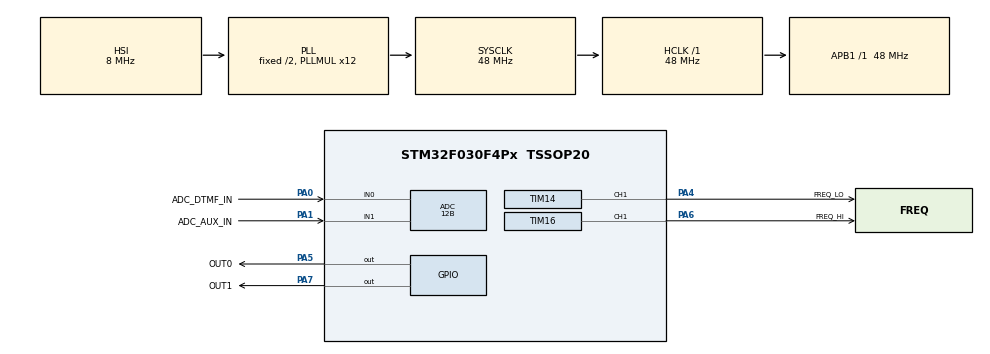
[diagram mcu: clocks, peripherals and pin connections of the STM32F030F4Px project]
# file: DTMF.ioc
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ADC.Channel-IN1=ADC_CHANNEL_1
ADC.ClockPrescaler=ADC_CLOCK_ASYNC_DIV1
ADC.ContinuousConvMode=DISABLE
ADC.DMAContinuousRequests=ENABLE
ADC.DataAlign=ADC_DATAALIGN_RIGHT
ADC.DiscontinuousConvMode=DISABLE
ADC.EOCSelection=ADC_EOC_SEQ_CONV
ADC.EnableAnalogWatchDog=false
ADC.ExternalTrigConv=ADC_EXTERNALTRIGCONV_T3_TRGO
ADC.ExternalTrigConvEdge=ADC_EXTERNALTRIGCONVEDGE_RISING
ADC.LowPowerAutoPowerOff=DISABLE
ADC.LowPowerAutoWait=ENABLE
ADC.Overrun=ADC_OVR_DATA_OVERWRITTEN
ADC.Resolution=ADC_RESOLUTION_12B
ADC.SamplingTime=ADC_SAMPLETIME_13CYCLES_5
ADC.ScanConvMode=ADC_SCAN_DIRECTION_FORWARD
Dma.ADC.1.Direction=DMA_PERIPH_TO_MEMORY
Dma.ADC.1.Instance=DMA1_Channel1
Dma.ADC.1.MemDataAlignment=DMA_MDATAALIGN_HALFWORD
Dma.ADC.1.MemInc=DMA_MINC_ENABLE
Dma.ADC.1.Mode=DMA_CIRCULAR
Dma.ADC.1.PeriphDataAlignment=DMA_PDATAALIGN_HALFWORD
Dma.ADC.1.PeriphInc=DMA_PINC_DISABLE
Dma.ADC.1.Priority=DMA_PRIORITY_VERY_HIGH
Dma.MEMTOMEM.0.Direction=DMA_MEMORY_TO_MEMORY
Dma.MEMTOMEM.0.Instance=DMA1_Channel4
Dma.MEMTOMEM.0.MemDataAlignment=DMA_MDATAALIGN_HALFWORD
Dma.MEMTOMEM.0.MemInc=DMA_MINC_ENABLE
Dma.MEMTOMEM.0.Mode=DMA_NORMAL
Dma.MEMTOMEM.0.PeriphDataAlignment=DMA_PDATAALIGN_HALFWORD
Dma.MEMTOMEM.0.PeriphInc=DMA_PINC_DISABLE
Dma.MEMTOMEM.0.Priority=DMA_PRIORITY_LOW
Dma.Request0=MEMTOMEM
Dma.Request1=ADC
Mcu.Family=STM32F0
Mcu.Name=STM32F030F4Px
Mcu.Package=TSSOP20
Mcu.UserConstants=SYS_TIM_Hz,6000000;SYSTICK_TIMEBASE_us,1000;SYSTICK_CAL,(SYSTICK_TIMEBASE_us*SYS_TIM_Hz/1000000);BR1,115200;BR2,230400;BR4,460800;TIM_CLK_48MHz,48000000;TIM_CLK,TIM_CLK_48MHz;TIM3_CK_CNT_Hz,48000000;TIM3_PSC,((TIM_CLK/TIM3_CK_CNT_Hz)-1);TIM3_TIMEBASE_us,(1000000/TIM3_FREQ_HZ);TIM3_ARR,((TIM3_CK_CNT_Hz/TIM3_FREQ_HZ)-1);TIM3_FREQ_HZ,3840;TIMD_CK_CNT_Hz,24000000;TIMD_PSC,((TIM_CLK/TIMD_CK_CNT_Hz)-1);TIMD_F1_Hz,697;TIMD_F1_ARR,((TIMD_CK_CNT_Hz/TIMD_F1_Hz)-1);TIMD_F2_Hz,770;TIMD_F3_Hz,852;TIMD_F4_Hz,941;TIMD_F5_Hz,1209;TIMD_F6_Hz,1336;TIMD_F7_Hz,1477;TIMD_F8_Hz,1633;TIMD_F5_ARR,((TIMD_CK_CNT_Hz/TIMD_F5_Hz)-1)
NVIC.DMA1_Channel1_IRQn=true\:1\:0\:true\:true\:true\:1
NVIC.FLASH_IRQn=true\:0\:0\:false\:false\:true
NVIC.RCC_IRQn=true\:0\:0\:false\:false\:true
PA0.GPIO_Label=ADC_DTMF_IN
PA0.Mode=IN0
PA0.Signal=ADC_IN0
PA1.GPIO_Label=ADC_AUX_IN
PA1.Mode=IN1
PA1.Signal=ADC_IN1
PA13.GPIO_Label=SWDIO
PA13.Mode=Serial_Wire
PA13.Signal=SYS_SWDIO
PA14.GPIO_Label=SWCLK
PA14.Mode=Serial_Wire
PA14.Signal=SYS_SWCLK
PA4.GPIO_Label=FREQ_LO
PA4.Signal=S_TIM14_CH1
PA5.GPIO_Label=OUT0
PA5.Signal=GPIO_Output
PA6.GPIO_Label=FREQ_HI
PA6.Signal=S_TIM16_CH1
PA7.GPIO_Label=OUT1
PA7.Signal=GPIO_Output
ProjectManager.HeapSize=0x200
ProjectManager.StackSize=0x400
ProjectManager.TargetToolchain=EWARM
RCC.AHBFreq_Value=48000000
RCC.APB1Freq_Value=48000000
RCC.APB1TimFreq_Value=48000000
RCC.DATA_CACHE_ENABLE=1
RCC.FLatency=FLASH_LATENCY_1
RCC.HCLKFreq_Value=48000000
RCC.INSTRUCTION_CACHE_ENABLE=1
RCC.LSE_Timout=2000
RCC.PLLMUL=RCC_PLL_MUL12
RCC.SYSCLKFreq_VALUE=48000000
RCC.SYSCLKSource=RCC_SYSCLKSOURCE_PLLCLK
SH.S_TIM14_CH1.0=TIM14_CH1,PWM Generation1 CH1
SH.S_TIM16_CH1.0=TIM16_CH1,PWM Generation1 CH1
TIM14.Period=TIMD_F1_ARR
TIM14.Prescaler=TIMD_PSC
TIM14.Pulse=(TIMD_F1_ARR/2)
TIM16.Period=TIMD_F5_ARR
TIM16.Prescaler=TIMD_PSC
TIM16.Pulse=(TIMD_F5_ARR/2)
TIM3.Period=TIM3_ARR
TIM3.Prescaler=TIM3_PSC
TIM3.TIM_MasterOutputTrigger=TIM_TRGO_UPDATE
VP_IWDG_VS_IWDG.Mode=IWDG_Activate
VP_TIM14_VS_ClockSourceINT.Mode=Enable_Timer
VP_TIM16_VS_ClockSourceINT.Mode=Enable_Timer
VP_TIM3_VS_ClockSourceINT.Mode=Internal
board=DTMF

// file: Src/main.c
/**
  ******************************************************************************
  * File Name          : main.c
  * Description        : Main program body
  ******************************************************************************
  *
  * COPYRIGHT(c) 2016 STMicroelectronics
  *
  * Redistribution and use in source and binary forms, with or without modification,
  * are permitted provided that the following conditions are met:
  *   1. Redistributions of source code must retain the above copyright notice,
  *      this list of conditions and the following disclaimer.
  *   2. Redistributions in binary form must reproduce the above copyright notice,
  *      this list of conditions and the following disclaimer in the documentation
  *      and/or other materials provided with the distribution.
  *   3. Neither the name of STMicroelectronics nor the names of its contributors
  *      may be used to endorse or promote products derived from this software
  *      without specific prior written permission.
  *
  * THIS SOFTWARE IS PROVIDED BY THE COPYRIGHT HOLDERS AND CONTRIBUTORS "AS IS"
  * AND ANY EXPRESS OR IMPLIED WARRANTIES, INCLUDING, BUT NOT LIMITED TO, THE
  * IMPLIED WARRANTIES OF MERCHANTABILITY AND FITNESS FOR A PARTICULAR PURPOSE ARE
  * DISCLAIMED. IN NO EVENT SHALL THE COPYRIGHT HOLDER OR CONTRIBUTORS BE LIABLE
  * FOR ANY DIRECT, INDIRECT, INCIDENTAL, SPECIAL, EXEMPLARY, OR CONSEQUENTIAL
  * DAMAGES (INCLUDING, BUT NOT LIMITED TO, PROCUREMENT OF SUBSTITUTE GOODS OR
  * SERVICES; LOSS OF USE, DATA, OR PROFITS; OR BUSINESS INTERRUPTION) HOWEVER
  * CAUSED AND ON ANY THEORY OF LIABILITY, WHETHER IN CONTRACT, STRICT LIABILITY,
  * OR TORT (INCLUDING NEGLIGENCE OR OTHERWISE) ARISING IN ANY WAY OUT OF THE USE
  * OF THIS SOFTWARE, EVEN IF ADVISED OF THE POSSIBILITY OF SUCH DAMAGE.
  *
  ******************************************************************************
  */
#include "main.h"
#include "stm32f0xx_hal.h"
#include "adc.h"
#include "dma.h"
#include "iwdg.h"
#include "tim.h"
#include "gpio.h"

/* USER CODE BEGIN Includes */
#include "main2.h"

/* USER CODE END Includes */

/* USER CODE BEGIN PV */
/* Private variables ---------------------------------------------------------*/

/* USER CODE END PV */

void SystemClock_Config(void);
void Error_Handler(void);
static void MX_NVIC_Init(void);

/* USER CODE BEGIN PFP */
/* Private function prototypes -----------------------------------------------*/

/* USER CODE END PFP */

int main(void)
{

  /* MCU Configuration----------------------------------------------------------*/

  /* Reset of all peripherals, Initializes the Flash interface and the Systick. */
  HAL_Init();

  /* Configure the system clock */
  SystemClock_Config();

  /* Initialize all configured peripherals */
  MX_GPIO_Init();
  MX_DMA_Init();
  MX_ADC_Init();
  MX_TIM3_Init();
  MX_TIM14_Init();
  MX_TIM16_Init();

  /* Initialize interrupts */
  MX_NVIC_Init();

  /* USER CODE BEGIN 2 */
  System_Vars_Initialization();                                                 // Initialization of system vars

  // Start All peripherals
  HAL_ADCEx_Calibration_Start(&hadc);                                           // Execute ADC1 calibration to improve precision
  HAL_ADC_Start_DMA(&hadc, (uint32_t*) &ADC_Buffer, ADC_CHANNELS_QTTY);         // Execute ADC Regular conversions capture thru DMA
  DMA_Disable_HalfTransfer_IT(hadc.DMA_Handle);                                 // Half-transfer DMA int is not used, shall be turned off
  HAL_TIM_Base_Start(&htim3);                                                   // Start TIM3 clock timer
  HAL_TIM_PWM_Start(&htim14, TIM_CHANNEL_1);                                    // Start TIM14 as PWM output
  HAL_TIM_PWM_Start(&htim16, TIM_CHANNEL_1);                                    // Start TIM16 as PWM output

  /* Select Callbacks functions called after Transfer complete and Transfer error */
  //HAL_DMA_RegisterCallback(hadc.DMA_Handle, HAL_DMA_XFER_CPLT_CB_ID, ( *)(DMA_HandleTypeDef *)TransferComplete);
  //HAL_DMA_RegisterCallback(hadc.DMA_Handle, HAL_DMA_XFER_ERROR_CB_ID, TransferError);

  /* USER CODE END 2 */

  /* Infinite loop */
  /* USER CODE BEGIN WHILE */
  while (1)
  {
    if (Enable_Main_Loop)                                                       // Starts routines scan each scan time T10_PERIOD
    {
      Enable_Main_Loop--;                                                       // Guarantees main_loop time
  HAL_GPIO_TogglePin(OUT1_GPIO_Port, OUT1_Pin);                                 // check loop time

  HAL_GPIO_WritePin(OUT0_GPIO_Port, OUT0_Pin, GPIO_PIN_SET);                    // check
      DTMF_Receiver();
  HAL_GPIO_WritePin(OUT0_GPIO_Port, OUT0_Pin, GPIO_PIN_RESET);                  // check DFMT time
    }
    else
    {
      //low power mode with peripherals still active;
    }

  /* USER CODE END WHILE */

  }

}

/** System Clock Configuration
*/
void SystemClock_Config(void)
{

  RCC_OscInitTypeDef RCC_OscInitStruct;
  RCC_ClkInitTypeDef RCC_ClkInitStruct;

    /**Initializes the CPU, AHB and APB busses clocks
    */
  RCC_OscInitStruct.OscillatorType = RCC_OSCILLATORTYPE_HSI|RCC_OSCILLATORTYPE_HSI14
                              |RCC_OSCILLATORTYPE_LSI;
  RCC_OscInitStruct.HSIState = RCC_HSI_ON;
  RCC_OscInitStruct.HSI14State = RCC_HSI14_ON;
  RCC_OscInitStruct.HSICalibrationValue = 16;
  RCC_OscInitStruct.HSI14CalibrationValue = 16;
  RCC_OscInitStruct.LSIState = RCC_LSI_ON;
  RCC_OscInitStruct.PLL.PLLState = RCC_PLL_ON;
  RCC_OscInitStruct.PLL.PLLSource = RCC_PLLSOURCE_HSI;
  RCC_OscInitStruct.PLL.PLLMUL = RCC_PLL_MUL12;
  RCC_OscInitStruct.PLL.PREDIV = RCC_PREDIV_DIV1;
  if (HAL_RCC_OscConfig(&RCC_OscInitStruct) != HAL_OK)
  {
    Error_Handler();
  }

    /**Initializes the CPU, AHB and APB busses clocks
    */
  RCC_ClkInitStruct.ClockType = RCC_CLOCKTYPE_HCLK|RCC_CLOCKTYPE_SYSCLK
                              |RCC_CLOCKTYPE_PCLK1;
  RCC_ClkInitStruct.SYSCLKSource = RCC_SYSCLKSOURCE_PLLCLK;
  RCC_ClkInitStruct.AHBCLKDivider = RCC_SYSCLK_DIV1;
  RCC_ClkInitStruct.APB1CLKDivider = RCC_HCLK_DIV1;

  if (HAL_RCC_ClockConfig(&RCC_ClkInitStruct, FLASH_LATENCY_1) != HAL_OK)
  {
    Error_Handler();
  }

    /**Configure the Systick interrupt time
    */
  HAL_SYSTICK_Config(HAL_RCC_GetHCLKFreq()/1000);

    /**Configure the Systick
    */
  HAL_SYSTICK_CLKSourceConfig(SYSTICK_CLKSOURCE_HCLK);

  /* SysTick_IRQn interrupt configuration */
  HAL_NVIC_SetPriority(SysTick_IRQn, 3, 0);
}

/** NVIC Configuration
*/
static void MX_NVIC_Init(void)
{
  /* DMA1_Channel1_IRQn interrupt configuration */
  HAL_NVIC_SetPriority(DMA1_Channel1_IRQn, 1, 0);
  HAL_NVIC_EnableIRQ(DMA1_Channel1_IRQn);
}

void Error_Handler(void)
{
  while(1)
  {
  }
}

/************************ (C) COPYRIGHT STMicroelectronics *****END OF FILE****/
